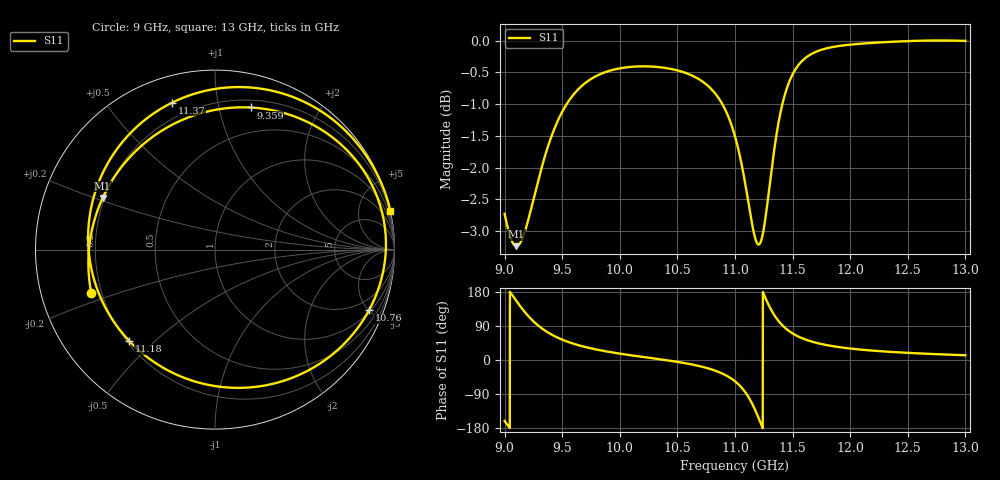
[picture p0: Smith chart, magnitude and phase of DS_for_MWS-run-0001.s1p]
! TOUCHSTONE file generated by CST DESIGN STUDIO
! Date and time: Tue Feb  4 18:32:23 2025
! Project name: C:\Work\MatlabApps\UnitCellOptimizationMatlab\CST\unitcell.cst
! Tree item: Tasks\Sweep1\SPara1\S-Parameters
! Header version: 2024
! Port assignment regex: !\s*Touchstone port\s*([0-9]+)\s*=\s*(CST MWS port|CST DES external port|CST DES block port)\s*(.+)\s* \(\"(.*)\"\)(\s*mode\s*([0-9]+))?.*
! Touchstone port assignment:
! Touchstone port 1 = CST DES external port 1 ("")
# GHz S MA R 50
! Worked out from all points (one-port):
!   4001 points, 9 GHz to 13 GHz, reference 50 ohm
!   lowest |S11| = -3.2 dB at 9.103 GHz (marker M1), VSWR 5.43, Z = 9.63 + j10.5 ohm
!   |S11| at or under -10 dB: nowhere
!   S11 on the Smith chart (normalised r, x): 9 GHz: 0.16, -0.17; 9.359 GHz: 0.26, +1.25; 10.76 GHz: 1.11, -5.03; 11.18 GHz: 0.21, -0.42; 11.37 GHz: 0.12, +0.74; 13 GHz: 0.02, +9.09
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9  0.7307 -160.7
9.053  0.6991 176.9
9.103  0.689 155.4
9.164  0.7023 130.8
9.223  0.7329 110.3
9.286  0.7724 92.4
9.359  0.8161 76.0
9.5  0.879 53.7
9.71  0.9276 33.6
10  0.9511 16.8
10.5  0.9476 -5.0
10.76  0.9223 -21.5
10.897  0.889 -36.8
11  0.8408 -56.2
11.103  0.7583 -91.0
11.141  0.7234 -110.6
11.177  0.6982 -133.2
11.222  0.694 -165.7
11.262  0.7228 165.1
11.317  0.7909 130.7
11.369  0.8529 106.3
11.425  0.9014 87.4
11.5  0.9408 70.1
11.586  0.9646 57.0
11.691  0.979 46.5
12  0.9928 30.2
12.5  0.9992 18.8
13  0.9996 12.6
